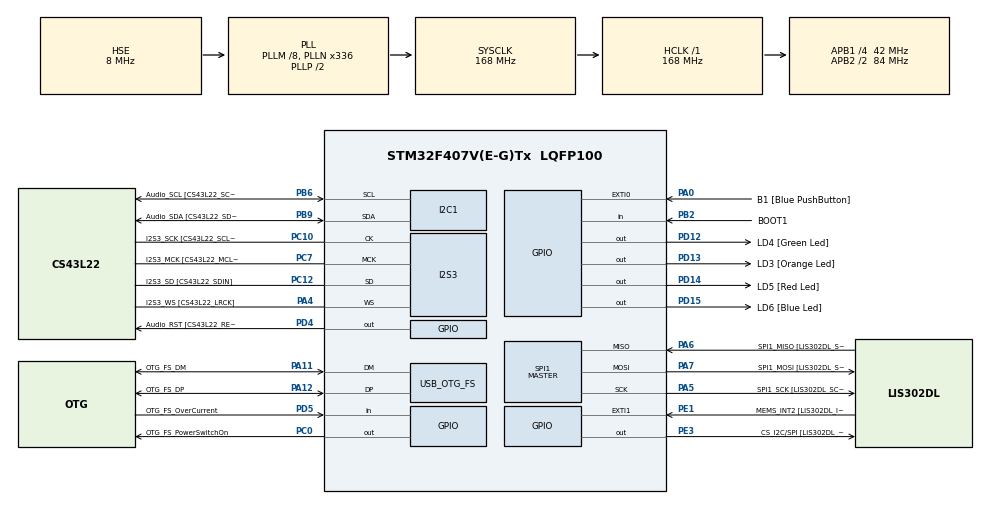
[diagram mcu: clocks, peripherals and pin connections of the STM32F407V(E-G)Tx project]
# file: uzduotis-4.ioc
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I2S3.AudioFreq-Half_Duplex_Master=I2S_AUDIOFREQ_96K
I2S3.ErrorAudioFreq=-2.34 %
I2S3.ErrorAudioFreq-Half_Duplex_Master=0.8 %
I2S3.FullDuplexMode=I2S_FULLDUPLEXMODE_DISABLE
I2S3.Instance=SPI$Index
I2S3.RealAudioFreq=93.75 KHz
I2S3.RealAudioFreq-Half_Duplex_Master=96.774 KHz
I2S3.VirtualMode=I2S_MODE_MASTER
Mcu.Family=STM32F4
Mcu.Name=STM32F407V(E-G)Tx
Mcu.Package=LQFP100
NVIC.OTG_FS_IRQn=true\:0\:0\:false\:false\:true\:true\:true
NVIC.PriorityGroup=NVIC_PRIORITYGROUP_0
PA0-WKUP.GPIO_Label=B1 [Blue PushButton]
PA0-WKUP.GPIO_ModeDefaultEXTI=GPIO_MODE_EVT_RISING
PA0-WKUP.GPIO_PuPd=GPIO_NOPULL
PA0-WKUP.Signal=GPXTI0
PA10.GPIO_Label=OTG_FS_ID
PA10.GPIO_Mode=GPIO_MODE_AF_PP
PA10.GPIO_PuPd=GPIO_NOPULL
PA10.GPIO_Speed=GPIO_SPEED_FREQ_LOW
PA10.Signal=USB_OTG_FS_ID
PA11.GPIO_Label=OTG_FS_DM
PA11.GPIO_Mode=GPIO_MODE_AF_PP
PA11.GPIO_PuPd=GPIO_NOPULL
PA11.GPIO_Speed=GPIO_SPEED_FREQ_LOW
PA11.Mode=Device_Only
PA11.Signal=USB_OTG_FS_DM
PA12.GPIO_Label=OTG_FS_DP
PA12.GPIO_Mode=GPIO_MODE_AF_PP
PA12.GPIO_PuPd=GPIO_NOPULL
PA12.GPIO_Speed=GPIO_SPEED_FREQ_LOW
PA12.Mode=Device_Only
PA12.Signal=USB_OTG_FS_DP
PA13.GPIO_Label=SWDIO
PA13.Mode=Serial_Wire
PA13.Signal=SYS_JTMS-SWDIO
PA14.GPIO_Label=SWCLK
PA14.Mode=Serial_Wire
PA14.Signal=SYS_JTCK-SWCLK
PA4.GPIO_Label=I2S3_WS [CS43L22_LRCK]
PA4.GPIO_Mode=GPIO_MODE_AF_PP
PA4.GPIO_PuPd=GPIO_NOPULL
PA4.GPIO_Speed=GPIO_SPEED_FREQ_LOW
PA4.Mode=Half_Duplex_Master
PA4.Signal=I2S3_WS
PA5.GPIO_Label=SPI1_SCK [LIS302DL_SCL/SPC]
PA5.GPIO_Mode=GPIO_MODE_AF_PP
PA5.GPIO_PuPd=GPIO_NOPULL
PA5.GPIO_Speed=GPIO_SPEED_FREQ_LOW
PA5.Mode=Full_Duplex_Master
PA5.Signal=SPI1_SCK
PA6.GPIO_Label=SPI1_MISO [LIS302DL_SDO]
PA6.GPIO_Mode=GPIO_MODE_AF_PP
PA6.GPIO_PuPd=GPIO_NOPULL
PA6.GPIO_Speed=GPIO_SPEED_FREQ_LOW
PA6.Mode=Full_Duplex_Master
PA6.Signal=SPI1_MISO
PA7.GPIO_Label=SPI1_MOSI [LIS302DL_SDA/SDI/SDO]
PA7.GPIO_Mode=GPIO_MODE_AF_PP
PA7.GPIO_PuPd=GPIO_NOPULL
PA7.GPIO_Speed=GPIO_SPEED_FREQ_LOW
PA7.Mode=Full_Duplex_Master
PA7.Signal=SPI1_MOSI
PA9.GPIO_Label=VBUS_FS
PA9.GPIO_Mode=GPIO_MODE_INPUT
PA9.GPIO_PuPd=GPIO_NOPULL
PA9.Signal=USB_OTG_FS_VBUS
PB10.GPIO_Label=CLK_IN [MP45DT02_CLK]
PB10.GPIO_Mode=GPIO_MODE_AF_PP
PB10.GPIO_PuPd=GPIO_NOPULL
PB10.GPIO_Speed=GPIO_SPEED_FREQ_LOW
PB10.Signal=I2S2_CK
PB2.GPIO_Label=BOOT1
PB2.GPIO_Mode=GPIO_MODE_INPUT
PB2.GPIO_PuPd=GPIO_NOPULL
PB2.Signal=GPIO_Input
PB3.GPIO_Label=SWO
PB3.Signal=SYS_JTDO-SWO
PB6.GPIO_Label=Audio_SCL [CS43L22_SCL]
PB6.GPIO_Mode=GPIO_MODE_AF_OD
PB6.GPIO_Pu=GPIO_PULLUP
PB6.GPIO_PuPd=GPIO_NOPULL
PB6.GPIO_Speed=GPIO_SPEED_FREQ_LOW
PB6.Mode=I2C
PB6.Signal=I2C1_SCL
PB9.GPIO_Label=Audio_SDA [CS43L22_SDA]
PB9.GPIO_Mode=GPIO_MODE_AF_OD
PB9.GPIO_Pu=GPIO_PULLUP
PB9.GPIO_PuPd=GPIO_NOPULL
PB9.GPIO_Speed=GPIO_SPEED_FREQ_LOW
PB9.Mode=I2C
PB9.Signal=I2C1_SDA
PC0.GPIO_Label=OTG_FS_PowerSwitchOn
PC0.GPIO_PuPd=GPIO_NOPULL
PC0.GPIO_Speed=GPIO_SPEED_FREQ_LOW
PC0.PinState=GPIO_PIN_SET
PC0.Signal=GPIO_Output
PC10.GPIO_Label=I2S3_SCK [CS43L22_SCLK]
PC10.GPIO_Mode=GPIO_MODE_AF_PP
PC10.GPIO_PuPd=GPIO_NOPULL
PC10.GPIO_Speed=GPIO_SPEED_FREQ_LOW
PC10.Mode=Half_Duplex_Master
PC10.Signal=I2S3_CK
PC12.GPIO_Label=I2S3_SD [CS43L22_SDIN]
PC12.GPIO_Mode=GPIO_MODE_AF_PP
PC12.GPIO_PuPd=GPIO_NOPULL
PC12.GPIO_Speed=GPIO_SPEED_FREQ_LOW
PC12.Mode=Half_Duplex_Master
PC12.Signal=I2S3_SD
PC14-OSC32_IN.GPIO_Label=PC14-OSC32_IN
PC14-OSC32_IN.Mode=LSE-External-Oscillator
PC14-OSC32_IN.Signal=RCC_OSC32_IN
PC15-OSC32_OUT.GPIO_Label=PC15-OSC32_OUT
PC15-OSC32_OUT.Mode=LSE-External-Oscillator
PC15-OSC32_OUT.Signal=RCC_OSC32_OUT
PC3.GPIO_Label=PDM_OUT [MP45DT02_DOUT]
PC3.GPIO_Mode=GPIO_MODE_AF_PP
PC3.GPIO_PuPd=GPIO_NOPULL
PC3.GPIO_Speed=GPIO_SPEED_FREQ_LOW
PC3.Signal=I2S2_SD
PC7.GPIO_Label=I2S3_MCK [CS43L22_MCLK]
PC7.GPIO_Mode=GPIO_MODE_AF_PP
PC7.GPIO_PuPd=GPIO_NOPULL
PC7.GPIO_Speed=GPIO_SPEED_FREQ_LOW
PC7.Mode=Master_Clock_Activated
PC7.Signal=I2S3_MCK
PD12.GPIO_Label=LD4 [Green Led]
PD12.GPIO_PuPd=GPIO_NOPULL
PD12.GPIO_Speed=GPIO_SPEED_FREQ_LOW
PD12.Signal=GPIO_Output
PD13.GPIO_Label=LD3 [Orange Led]
PD13.GPIO_PuPd=GPIO_NOPULL
PD13.GPIO_Speed=GPIO_SPEED_FREQ_LOW
PD13.Signal=GPIO_Output
PD14.GPIO_Label=LD5 [Red Led]
PD14.GPIO_PuPd=GPIO_NOPULL
PD14.GPIO_Speed=GPIO_SPEED_FREQ_LOW
PD14.Signal=GPIO_Output
PD15.GPIO_Label=LD6 [Blue Led]
PD15.GPIO_PuPd=GPIO_NOPULL
PD15.GPIO_Speed=GPIO_SPEED_FREQ_LOW
PD15.Signal=GPIO_Output
PD4.GPIO_Label=Audio_RST [CS43L22_RESET]
PD4.GPIO_PuPd=GPIO_NOPULL
PD4.GPIO_Speed=GPIO_SPEED_FREQ_LOW
PD4.Signal=GPIO_Output
PD5.GPIO_Label=OTG_FS_OverCurrent
PD5.GPIO_Mode=GPIO_MODE_INPUT
PD5.GPIO_PuPd=GPIO_NOPULL
PD5.Signal=GPIO_Input
PE1.GPIO_Label=MEMS_INT2 [LIS302DL_INT2]
PE1.GPIO_ModeDefaultEXTI=GPIO_MODE_EVT_RISING
PE1.GPIO_PuPd=GPIO_NOPULL
PE1.Signal=GPXTI1
PE3.GPIO_Label=CS_I2C/SPI [LIS302DL_CS_I2C/SPI]
PE3.GPIO_PuPd=GPIO_NOPULL
PE3.GPIO_Speed=GPIO_SPEED_FREQ_LOW
PE3.Signal=GPIO_Output
PH0-OSC_IN.GPIO_Label=PH0-OSC_IN
PH0-OSC_IN.Mode=HSE-External-Oscillator
PH0-OSC_IN.Signal=RCC_OSC_IN
PH1-OSC_OUT.GPIO_Label=PH1-OSC_OUT
PH1-OSC_OUT.Mode=HSE-External-Oscillator
PH1-OSC_OUT.Signal=RCC_OSC_OUT
ProjectManager.HeapSize=0x200
ProjectManager.StackSize=0x400
ProjectManager.TargetToolchain=STM32CubeIDE
RCC.48MHZClocksFreq_Value=48000000
RCC.AHBFreq_Value=168000000
RCC.APB1CLKDivider=RCC_HCLK_DIV4
RCC.APB1Freq_Value=42000000
RCC.APB1TimFreq_Value=84000000
RCC.APB2CLKDivider=RCC_HCLK_DIV2
RCC.APB2Freq_Value=84000000
RCC.APB2TimFreq_Value=168000000
RCC.CortexFreq_Value=168000000
RCC.HCLKFreq_Value=168000000
RCC.HSE_VALUE=8000000
RCC.HSI_VALUE=16000000
RCC.PLLM=8
RCC.PLLN=336
RCC.PLLQ=7
RCC.SYSCLKFreq_VALUE=168000000
RCC.SYSCLKSource=RCC_SYSCLKSOURCE_PLLCLK
RCC.VCOOutputFreq_Value=336000000
SPI1.BaudRatePrescaler-Full_Duplex_Master=SPI_BAUDRATEPRESCALER_2
SPI1.CalculateBaudRate-Full_Duplex_Master=42.0 MBits/s
SPI1.Direction=SPI_DIRECTION_2LINES
SPI1.Mode=SPI_MODE_MASTER
SPI1.Mode-Full_Duplex_Master=SPI_MODE_MASTER
SPI1.VirtualType=VM_MASTER
USB_DEVICE.CLASS_NAME_FS=CDC
USB_DEVICE.VirtualMode-CDC_FS=Cdc
USB_DEVICE.VirtualModeFS=Cdc_FS
USB_OTG_FS.VirtualMode=Device_Only
VP_USB_DEVICE_VS_USB_DEVICE_CDC_FS.Mode=CDC_FS
board=STM32F407G-DISC1

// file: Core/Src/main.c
/* USER CODE BEGIN Header */
/**
  ******************************************************************************
  * @file           : main.c
  * @brief          : Main program body
  ******************************************************************************
  * @attention
  *
  * Copyright (c) 2022 STMicroelectronics.
  * All rights reserved.
  *
  * This software is licensed under terms that can be found in the LICENSE file
  * in the root directory of this software component.
  * If no LICENSE file comes with this software, it is provided AS-IS.
  *
  ******************************************************************************
  */
/* USER CODE END Header */
#include "main.h"
#include "usb_device.h"

I2C_HandleTypeDef hi2c1;

I2S_HandleTypeDef hi2s3;

SPI_HandleTypeDef hspi1;

/* USER CODE BEGIN PV */
static const uint8_t CS43L22_ADDR = 0x94;
static const uint8_t CHIP_ID_REG = 0x01;
/* USER CODE END PV */

void SystemClock_Config(void);
static void MX_GPIO_Init(void);
static void MX_I2C1_Init(void);
static void MX_I2S3_Init(void);
static void MX_SPI1_Init(void);

int main(void)
{
  /* USER CODE BEGIN 1 */
	int16_t val;
	HAL_StatusTypeDef ret_val;
  /* USER CODE END 1 */

  /* MCU Configuration--------------------------------------------------------*/

  /* Reset of all peripherals, Initializes the Flash interface and the Systick. */
  HAL_Init();

  /* Configure the system clock */
  SystemClock_Config();

  /* Initialize all configured peripherals */
  MX_GPIO_Init();
  MX_I2C1_Init();
  MX_I2S3_Init();
  MX_SPI1_Init();
  MX_USB_DEVICE_Init();
  /* USER CODE BEGIN 2 */
  // Initialise data buffer
  uint8_t buffer[35];
  /* USER CODE END 2 */

  /* Infinite loop */
  while (1)
  {

    /* USER CODE BEGIN 3 */
	  // Need to set the reset pin to high to power up the DAC
	  HAL_GPIO_WritePin(Audio_RST_GPIO_Port, Audio_RST_Pin, GPIO_PIN_SET);
	  buffer[0] = CHIP_ID_REG;
	  // Send read request
	  ret_val = HAL_I2C_Master_Transmit(&hi2c1, CS43L22_ADDR, buffer, 1, HAL_MAX_DELAY);
	  if (ret_val != HAL_OK){
		  strcpy((char*) buffer, "I2C Transmit Error\r\n");
	  }
	  else {
		  // Get the value of specified register
		  ret_val = HAL_I2C_Master_Receive(&hi2c1, CS43L22_ADDR, buffer, 1, HAL_MAX_DELAY);
		  if (ret_val != HAL_OK){
				  strcpy((char*) buffer, "I2C Receive Error\r\n");
			  }
		  else {
			  // Right shift by 3 to get only the chip i.d.
			  val = (int16_t) buffer[0] >> 3;
			  // Write the string to buffer for transmission
			  sprintf((char*)buffer, "CHIP I.D. Register value is: %x\r\n",val);
		  }

	  }
	  // Send string over serial.
	  CDC_Transmit_FS(buffer, sizeof(buffer));
	  // Repeat every 500ms
	  HAL_Delay(500);
  }
  /* USER CODE END 3 */
}

void SystemClock_Config(void)
{
  RCC_OscInitTypeDef RCC_OscInitStruct = {0};
  RCC_ClkInitTypeDef RCC_ClkInitStruct = {0};

  /** Configure the main internal regulator output voltage
  */
  __HAL_RCC_PWR_CLK_ENABLE();
  __HAL_PWR_VOLTAGESCALING_CONFIG(PWR_REGULATOR_VOLTAGE_SCALE1);
  /** Initializes the RCC Oscillators according to the specified parameters
  * in the RCC_OscInitTypeDef structure.
  */
  RCC_OscInitStruct.OscillatorType = RCC_OSCILLATORTYPE_HSE;
  RCC_OscInitStruct.HSEState = RCC_HSE_ON;
  RCC_OscInitStruct.PLL.PLLState = RCC_PLL_ON;
  RCC_OscInitStruct.PLL.PLLSource = RCC_PLLSOURCE_HSE;
  RCC_OscInitStruct.PLL.PLLM = 8;
  RCC_OscInitStruct.PLL.PLLN = 336;
  RCC_OscInitStruct.PLL.PLLP = RCC_PLLP_DIV2;
  RCC_OscInitStruct.PLL.PLLQ = 7;
  if (HAL_RCC_OscConfig(&RCC_OscInitStruct) != HAL_OK)
  {
    Error_Handler();
  }
  /** Initializes the CPU, AHB and APB buses clocks
  */
  RCC_ClkInitStruct.ClockType = RCC_CLOCKTYPE_HCLK|RCC_CLOCKTYPE_SYSCLK
                              |RCC_CLOCKTYPE_PCLK1|RCC_CLOCKTYPE_PCLK2;
  RCC_ClkInitStruct.SYSCLKSource = RCC_SYSCLKSOURCE_PLLCLK;
  RCC_ClkInitStruct.AHBCLKDivider = RCC_SYSCLK_DIV1;
  RCC_ClkInitStruct.APB1CLKDivider = RCC_HCLK_DIV4;
  RCC_ClkInitStruct.APB2CLKDivider = RCC_HCLK_DIV2;

  if (HAL_RCC_ClockConfig(&RCC_ClkInitStruct, FLASH_LATENCY_5) != HAL_OK)
  {
    Error_Handler();
  }
}

static void MX_I2C1_Init(void)
{

  hi2c1.Instance = I2C1;
  hi2c1.Init.ClockSpeed = 100000;
  hi2c1.Init.DutyCycle = I2C_DUTYCYCLE_2;
  hi2c1.Init.OwnAddress1 = 0;
  hi2c1.Init.AddressingMode = I2C_ADDRESSINGMODE_7BIT;
  hi2c1.Init.DualAddressMode = I2C_DUALADDRESS_DISABLE;
  hi2c1.Init.OwnAddress2 = 0;
  hi2c1.Init.GeneralCallMode = I2C_GENERALCALL_DISABLE;
  hi2c1.Init.NoStretchMode = I2C_NOSTRETCH_DISABLE;
  if (HAL_I2C_Init(&hi2c1) != HAL_OK)
  {
    Error_Handler();
  }

}

static void MX_I2S3_Init(void)
{

  hi2s3.Instance = SPI3;
  hi2s3.Init.Mode = I2S_MODE_MASTER_TX;
  hi2s3.Init.Standard = I2S_STANDARD_PHILIPS;
  hi2s3.Init.DataFormat = I2S_DATAFORMAT_16B;
  hi2s3.Init.MCLKOutput = I2S_MCLKOUTPUT_ENABLE;
  hi2s3.Init.AudioFreq = I2S_AUDIOFREQ_96K;
  hi2s3.Init.CPOL = I2S_CPOL_LOW;
  hi2s3.Init.ClockSource = I2S_CLOCK_PLL;
  hi2s3.Init.FullDuplexMode = I2S_FULLDUPLEXMODE_DISABLE;
  if (HAL_I2S_Init(&hi2s3) != HAL_OK)
  {
    Error_Handler();
  }

}

static void MX_SPI1_Init(void)
{

  /* SPI1 parameter configuration*/
  hspi1.Instance = SPI1;
  hspi1.Init.Mode = SPI_MODE_MASTER;
  hspi1.Init.Direction = SPI_DIRECTION_2LINES;
  hspi1.Init.DataSize = SPI_DATASIZE_8BIT;
  hspi1.Init.CLKPolarity = SPI_POLARITY_LOW;
  hspi1.Init.CLKPhase = SPI_PHASE_1EDGE;
  hspi1.Init.NSS = SPI_NSS_SOFT;
  hspi1.Init.BaudRatePrescaler = SPI_BAUDRATEPRESCALER_2;
  hspi1.Init.FirstBit = SPI_FIRSTBIT_MSB;
  hspi1.Init.TIMode = SPI_TIMODE_DISABLE;
  hspi1.Init.CRCCalculation = SPI_CRCCALCULATION_DISABLE;
  hspi1.Init.CRCPolynomial = 10;
  if (HAL_SPI_Init(&hspi1) != HAL_OK)
  {
    Error_Handler();
  }

}

static void MX_GPIO_Init(void)
{
  GPIO_InitTypeDef GPIO_InitStruct = {0};

  /* GPIO Ports Clock Enable */
  __HAL_RCC_GPIOE_CLK_ENABLE();
  __HAL_RCC_GPIOC_CLK_ENABLE();
  __HAL_RCC_GPIOH_CLK_ENABLE();
  __HAL_RCC_GPIOA_CLK_ENABLE();
  __HAL_RCC_GPIOB_CLK_ENABLE();
  __HAL_RCC_GPIOD_CLK_ENABLE();

  /*Configure GPIO pin Output Level */
  HAL_GPIO_WritePin(CS_I2C_SPI_GPIO_Port, CS_I2C_SPI_Pin, GPIO_PIN_RESET);

  /*Configure GPIO pin Output Level */
  HAL_GPIO_WritePin(OTG_FS_PowerSwitchOn_GPIO_Port, OTG_FS_PowerSwitchOn_Pin, GPIO_PIN_SET);

  /*Configure GPIO pin Output Level */
  HAL_GPIO_WritePin(GPIOD, LD4_Pin|LD3_Pin|LD5_Pin|LD6_Pin
                          |Audio_RST_Pin, GPIO_PIN_RESET);

  /*Configure GPIO pin : CS_I2C_SPI_Pin */
  GPIO_InitStruct.Pin = CS_I2C_SPI_Pin;
  GPIO_InitStruct.Mode = GPIO_MODE_OUTPUT_PP;
  GPIO_InitStruct.Pull = GPIO_NOPULL;
  GPIO_InitStruct.Speed = GPIO_SPEED_FREQ_LOW;
  HAL_GPIO_Init(CS_I2C_SPI_GPIO_Port, &GPIO_InitStruct);

  /*Configure GPIO pin : OTG_FS_PowerSwitchOn_Pin */
  GPIO_InitStruct.Pin = OTG_FS_PowerSwitchOn_Pin;
  GPIO_InitStruct.Mode = GPIO_MODE_OUTPUT_PP;
  GPIO_InitStruct.Pull = GPIO_NOPULL;
  GPIO_InitStruct.Speed = GPIO_SPEED_FREQ_LOW;
  HAL_GPIO_Init(OTG_FS_PowerSwitchOn_GPIO_Port, &GPIO_InitStruct);

  /*Configure GPIO pin : PDM_OUT_Pin */
  GPIO_InitStruct.Pin = PDM_OUT_Pin;
  GPIO_InitStruct.Mode = GPIO_MODE_AF_PP;
  GPIO_InitStruct.Pull = GPIO_NOPULL;
  GPIO_InitStruct.Speed = GPIO_SPEED_FREQ_LOW;
  GPIO_InitStruct.Alternate = GPIO_AF5_SPI2;
  HAL_GPIO_Init(PDM_OUT_GPIO_Port, &GPIO_InitStruct);

  /*Configure GPIO pin : B1_Pin */
  GPIO_InitStruct.Pin = B1_Pin;
  GPIO_InitStruct.Mode = GPIO_MODE_EVT_RISING;
  GPIO_InitStruct.Pull = GPIO_NOPULL;
  HAL_GPIO_Init(B1_GPIO_Port, &GPIO_InitStruct);

  /*Configure GPIO pin : BOOT1_Pin */
  GPIO_InitStruct.Pin = BOOT1_Pin;
  GPIO_InitStruct.Mode = GPIO_MODE_INPUT;
  GPIO_InitStruct.Pull = GPIO_NOPULL;
  HAL_GPIO_Init(BOOT1_GPIO_Port, &GPIO_InitStruct);

  /*Configure GPIO pin : CLK_IN_Pin */
  GPIO_InitStruct.Pin = CLK_IN_Pin;
  GPIO_InitStruct.Mode = GPIO_MODE_AF_PP;
  GPIO_InitStruct.Pull = GPIO_NOPULL;
  GPIO_InitStruct.Speed = GPIO_SPEED_FREQ_LOW;
  GPIO_InitStruct.Alternate = GPIO_AF5_SPI2;
  HAL_GPIO_Init(CLK_IN_GPIO_Port, &GPIO_InitStruct);

  /*Configure GPIO pins : LD4_Pin LD3_Pin LD5_Pin LD6_Pin
                           Audio_RST_Pin */
  GPIO_InitStruct.Pin = LD4_Pin|LD3_Pin|LD5_Pin|LD6_Pin
                          |Audio_RST_Pin;
  GPIO_InitStruct.Mode = GPIO_MODE_OUTPUT_PP;
  GPIO_InitStruct.Pull = GPIO_NOPULL;
  GPIO_InitStruct.Speed = GPIO_SPEED_FREQ_LOW;
  HAL_GPIO_Init(GPIOD, &GPIO_InitStruct);

  /*Configure GPIO pin : OTG_FS_OverCurrent_Pin */
  GPIO_InitStruct.Pin = OTG_FS_OverCurrent_Pin;
  GPIO_InitStruct.Mode = GPIO_MODE_INPUT;
  GPIO_InitStruct.Pull = GPIO_NOPULL;
  HAL_GPIO_Init(OTG_FS_OverCurrent_GPIO_Port, &GPIO_InitStruct);

  /*Configure GPIO pin : MEMS_INT2_Pin */
  GPIO_InitStruct.Pin = MEMS_INT2_Pin;
  GPIO_InitStruct.Mode = GPIO_MODE_EVT_RISING;
  GPIO_InitStruct.Pull = GPIO_NOPULL;
  HAL_GPIO_Init(MEMS_INT2_GPIO_Port, &GPIO_InitStruct);

}

void Error_Handler(void)
{
  __disable_irq();
  while (1)
  {
  }
}
